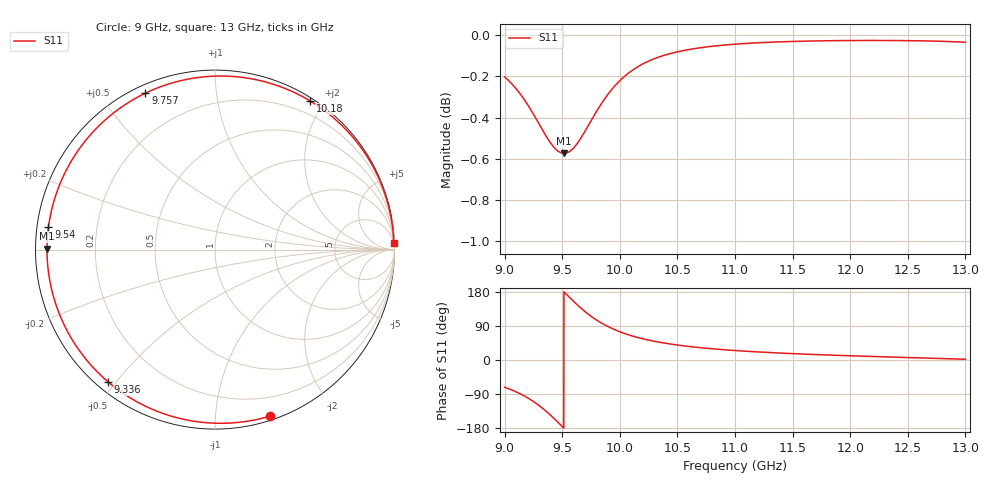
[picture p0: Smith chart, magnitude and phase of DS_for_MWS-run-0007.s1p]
! TOUCHSTONE file generated by CST DESIGN STUDIO
! Date and time: Tue Feb  4 15:59:45 2025
! Project name: C:\Work\MatlabApps\UnitCellOptimizationMatlab\CST\unitcell.cst
! Tree item: Tasks\Sweep1\SPara1\S-Parameters
! Header version: 2024
! Port assignment regex: !\s*Touchstone port\s*([0-9]+)\s*=\s*(CST MWS port|CST DES external port|CST DES block port)\s*(.+)\s* \(\"(.*)\"\)(\s*mode\s*([0-9]+))?.*
! Touchstone port assignment:
! Touchstone port 1 = CST DES external port 1 ("")
# GHz S MA R 50
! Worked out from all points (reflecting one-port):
!   4001 points, 9 GHz to 13 GHz, reference 50 ohm
!   lowest |S11| = -0.6 dB at 9.516 GHz (marker M1), VSWR 30.28, Z = 1.65 + j0.161 ohm
!   phase of S11 starts at -72 deg and turns -286 deg over the sweep
!   S11 on the Smith chart (normalised r, x): 9 GHz: 0.03, -1.38; 9.336 GHz: 0.03, -0.48; 9.54 GHz: 0.03, +0.07; 9.757 GHz: 0.03, +0.65; 10.18 GHz: 0.04, +1.83; 13 GHz: 6, +57
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9  0.977 -71.8
9.092  0.9711 -82.9
9.196  0.9623 -99.2
9.269  0.9548 -113.5
9.336  0.9476 -129.0
9.381  0.9431 -140.7
9.427  0.9393 -153.7
9.464  0.9372 -164.6
9.5  0.9362 -175.5
9.516  0.9361 179.6
9.54  0.9363 172.3
9.593  0.9385 156.4
9.653  0.9432 139.4
9.704  0.9483 126.3
9.757  0.954 114.0
9.807  0.9592 103.7
9.862  0.9645 93.8
10  0.9749 74.5
10.086  0.9796 65.4
10.181  0.9834 57.4
10.326  0.9876 47.9
10.5  0.9908 39.5
10.721  0.9932 31.9
11  0.995 25.0
11.5  0.9965 16.8
12  0.9971 11.1
12.5  0.997 6.5
13  0.9961 2.0
